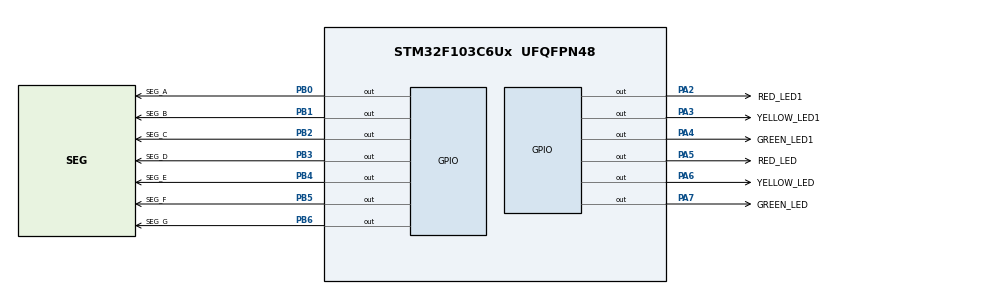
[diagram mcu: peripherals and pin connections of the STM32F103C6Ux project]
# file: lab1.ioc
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Mcu.Family=STM32F1
Mcu.Name=STM32F103C6Ux
Mcu.Package=UFQFPN48
NVIC.PriorityGroup=NVIC_PRIORITYGROUP_4
PA2.GPIO_Label=RED_LED1
PA2.Signal=GPIO_Output
PA3.GPIO_Label=YELLOW_LED1
PA3.Signal=GPIO_Output
PA4.GPIO_Label=GREEN_LED1
PA4.Signal=GPIO_Output
PA5.GPIO_Label=RED_LED
PA5.Signal=GPIO_Output
PA6.GPIO_Label=YELLOW_LED
PA6.Signal=GPIO_Output
PA7.GPIO_Label=GREEN_LED
PA7.Signal=GPIO_Output
PB0.GPIO_Label=SEG_A
PB0.Signal=GPIO_Output
PB1.GPIO_Label=SEG_B
PB1.Signal=GPIO_Output
PB2.GPIO_Label=SEG_C
PB2.Signal=GPIO_Output
PB3.GPIO_Label=SEG_D
PB3.Signal=GPIO_Output
PB4.GPIO_Label=SEG_E
PB4.Signal=GPIO_Output
PB5.GPIO_Label=SEG_F
PB5.Signal=GPIO_Output
PB6.GPIO_Label=SEG_G
PB6.Signal=GPIO_Output
ProjectManager.HeapSize=0x200
ProjectManager.StackSize=0x400
ProjectManager.TargetToolchain=STM32CubeIDE
RCC.APB1Freq_Value=8000000
RCC.APB2Freq_Value=8000000
VP_SYS_VS_ND.Mode=No_Debug
board=custom

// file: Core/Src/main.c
/* USER CODE BEGIN Header */
/**
  ******************************************************************************
  * @file           : main.c
  * @brief          : Main program body
  ******************************************************************************
  * @attention
  *
  * <h2><center>&copy; Copyright (c) 2024 STMicroelectronics.
  * All rights reserved.</center></h2>
  *
  * This software component is licensed by ST under BSD 3-Clause license,
  * the "License"; You may not use this file except in compliance with the
  * License. You may obtain a copy of the License at:
  *                        opensource.org/licenses/BSD-3-Clause
  *
  ******************************************************************************
  */
/* USER CODE END Header */
#include "main.h"

void SystemClock_Config(void);
static void MX_GPIO_Init(void);

int main(void)
{

  /* MCU Configuration--------------------------------------------------------*/

  /* Reset of all peripherals, Initializes the Flash interface and the Systick. */
  HAL_Init();

  /* Configure the system clock */
  SystemClock_Config();

  /* Initialize all configured peripherals */
  MX_GPIO_Init();

  /* Infinite loop */
  /* USER CODE BEGIN WHILE */
  while (1)
  {
	     HAL_GPIO_WritePin(RED_LED_GPIO_Port, RED_LED_Pin, GPIO_PIN_SET);
	     HAL_GPIO_WritePin(YELLOW_LED_GPIO_Port, YELLOW_LED_Pin, GPIO_PIN_RESET);
	     HAL_GPIO_WritePin(GREEN_LED_GPIO_Port, GREEN_LED_Pin, GPIO_PIN_RESET);

	     HAL_GPIO_WritePin(RED_LED1_GPIO_Port, RED_LED1_Pin, GPIO_PIN_RESET);
	     HAL_GPIO_WritePin(YELLOW_LED1_GPIO_Port, YELLOW_LED1_Pin, GPIO_PIN_RESET);
	     HAL_GPIO_WritePin(GREEN_LED1_GPIO_Port, GREEN_LED1_Pin, GPIO_PIN_SET);
	     HAL_Delay(3000);

	     HAL_GPIO_WritePin(RED_LED_GPIO_Port, RED_LED_Pin, GPIO_PIN_SET);
	     HAL_GPIO_WritePin(YELLOW_LED_GPIO_Port, YELLOW_LED_Pin, GPIO_PIN_RESET);
	     HAL_GPIO_WritePin(GREEN_LED_GPIO_Port, GREEN_LED_Pin, GPIO_PIN_RESET);

	     HAL_GPIO_WritePin(RED_LED1_GPIO_Port, RED_LED1_Pin, GPIO_PIN_RESET);
	     HAL_GPIO_WritePin(YELLOW_LED1_GPIO_Port, YELLOW_LED1_Pin, GPIO_PIN_SET);
	     HAL_GPIO_WritePin(GREEN_LED1_GPIO_Port, GREEN_LED1_Pin, GPIO_PIN_RESET);
	     HAL_Delay(2000);

	     HAL_GPIO_WritePin(RED_LED_GPIO_Port, RED_LED_Pin, GPIO_PIN_RESET);
	     HAL_GPIO_WritePin(YELLOW_LED_GPIO_Port, YELLOW_LED_Pin, GPIO_PIN_RESET);
	     HAL_GPIO_WritePin(GREEN_LED_GPIO_Port, GREEN_LED_Pin, GPIO_PIN_SET);

	     HAL_GPIO_WritePin(RED_LED1_GPIO_Port, RED_LED1_Pin, GPIO_PIN_SET);
	     HAL_GPIO_WritePin(YELLOW_LED1_GPIO_Port, YELLOW_LED1_Pin, GPIO_PIN_RESET);
	     HAL_GPIO_WritePin(GREEN_LED1_GPIO_Port, GREEN_LED1_Pin, GPIO_PIN_RESET);
	     HAL_Delay(3000);

	     HAL_GPIO_WritePin(RED_LED_GPIO_Port, RED_LED_Pin, GPIO_PIN_RESET);
	     HAL_GPIO_WritePin(YELLOW_LED_GPIO_Port, YELLOW_LED_Pin, GPIO_PIN_SET);
	     HAL_GPIO_WritePin(GREEN_LED_GPIO_Port, GREEN_LED_Pin, GPIO_PIN_RESET);

	     HAL_GPIO_WritePin(RED_LED1_GPIO_Port, RED_LED1_Pin, GPIO_PIN_SET);
	     HAL_GPIO_WritePin(YELLOW_LED1_GPIO_Port, YELLOW_LED1_Pin, GPIO_PIN_RESET);
	     HAL_GPIO_WritePin(GREEN_LED1_GPIO_Port, GREEN_LED1_Pin, GPIO_PIN_RESET);
	     HAL_Delay(2000);

    /* USER CODE END WHILE */

  }
}

void SystemClock_Config(void)
{
  RCC_OscInitTypeDef RCC_OscInitStruct = {0};
  RCC_ClkInitTypeDef RCC_ClkInitStruct = {0};

  /** Initializes the RCC Oscillators according to the specified parameters
  * in the RCC_OscInitTypeDef structure.
  */
  RCC_OscInitStruct.OscillatorType = RCC_OSCILLATORTYPE_HSI;
  RCC_OscInitStruct.HSIState = RCC_HSI_ON;
  RCC_OscInitStruct.HSICalibrationValue = RCC_HSICALIBRATION_DEFAULT;
  RCC_OscInitStruct.PLL.PLLState = RCC_PLL_NONE;
  if (HAL_RCC_OscConfig(&RCC_OscInitStruct) != HAL_OK)
  {
    Error_Handler();
  }
  /** Initializes the CPU, AHB and APB buses clocks
  */
  RCC_ClkInitStruct.ClockType = RCC_CLOCKTYPE_HCLK|RCC_CLOCKTYPE_SYSCLK
                              |RCC_CLOCKTYPE_PCLK1|RCC_CLOCKTYPE_PCLK2;
  RCC_ClkInitStruct.SYSCLKSource = RCC_SYSCLKSOURCE_HSI;
  RCC_ClkInitStruct.AHBCLKDivider = RCC_SYSCLK_DIV1;
  RCC_ClkInitStruct.APB1CLKDivider = RCC_HCLK_DIV1;
  RCC_ClkInitStruct.APB2CLKDivider = RCC_HCLK_DIV1;

  if (HAL_RCC_ClockConfig(&RCC_ClkInitStruct, FLASH_LATENCY_0) != HAL_OK)
  {
    Error_Handler();
  }
}

static void MX_GPIO_Init(void)
{
  GPIO_InitTypeDef GPIO_InitStruct = {0};

  /* GPIO Ports Clock Enable */
  __HAL_RCC_GPIOA_CLK_ENABLE();
  __HAL_RCC_GPIOB_CLK_ENABLE();

  /*Configure GPIO pin Output Level */
  HAL_GPIO_WritePin(GPIOA, RED_LED1_Pin|YELLOW_LED1_Pin|GREEN_LED1_Pin|RED_LED_Pin
                          |YELLOW_LED_Pin|GREEN_LED_Pin, GPIO_PIN_RESET);

  /*Configure GPIO pin Output Level */
  HAL_GPIO_WritePin(GPIOB, SEG_A_Pin|SEG_B_Pin|SEG_C_Pin|SEG_D_Pin
                          |SEG_E_Pin|SEG_F_Pin|SEG_G_Pin, GPIO_PIN_RESET);

  /*Configure GPIO pins : RED_LED1_Pin YELLOW_LED1_Pin GREEN_LED1_Pin RED_LED_Pin
                           YELLOW_LED_Pin GREEN_LED_Pin */
  GPIO_InitStruct.Pin = RED_LED1_Pin|YELLOW_LED1_Pin|GREEN_LED1_Pin|RED_LED_Pin
                          |YELLOW_LED_Pin|GREEN_LED_Pin;
  GPIO_InitStruct.Mode = GPIO_MODE_OUTPUT_PP;
  GPIO_InitStruct.Pull = GPIO_NOPULL;
  GPIO_InitStruct.Speed = GPIO_SPEED_FREQ_LOW;
  HAL_GPIO_Init(GPIOA, &GPIO_InitStruct);

  /*Configure GPIO pins : SEG_A_Pin SEG_B_Pin SEG_C_Pin SEG_D_Pin
                           SEG_E_Pin SEG_F_Pin SEG_G_Pin */
  GPIO_InitStruct.Pin = SEG_A_Pin|SEG_B_Pin|SEG_C_Pin|SEG_D_Pin
                          |SEG_E_Pin|SEG_F_Pin|SEG_G_Pin;
  GPIO_InitStruct.Mode = GPIO_MODE_OUTPUT_PP;
  GPIO_InitStruct.Pull = GPIO_NOPULL;
  GPIO_InitStruct.Speed = GPIO_SPEED_FREQ_LOW;
  HAL_GPIO_Init(GPIOB, &GPIO_InitStruct);

}

void Error_Handler(void)
{
  __disable_irq();
  while (1)
  {
  }
}

/************************ (C) COPYRIGHT STMicroelectronics *****END OF FILE****/
